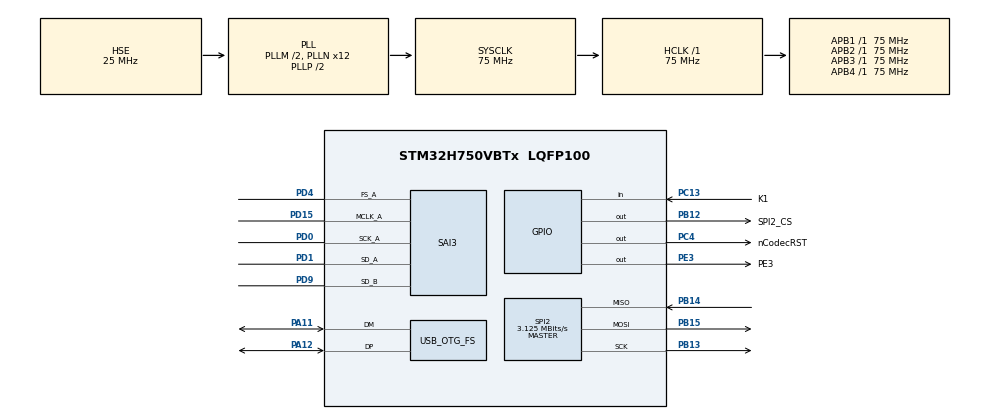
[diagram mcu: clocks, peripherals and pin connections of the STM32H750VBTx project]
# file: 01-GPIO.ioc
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CORTEX_M7.AccessPermission-Cortex_Memory_Protection_Unit_Region0_Settings=MPU_REGION_FULL_ACCESS
CORTEX_M7.AccessPermission-Cortex_Memory_Protection_Unit_Region1_Settings=MPU_REGION_FULL_ACCESS
CORTEX_M7.BaseAddress-Cortex_Memory_Protection_Unit_Region0_Settings=0x90000000
CORTEX_M7.BaseAddress-Cortex_Memory_Protection_Unit_Region1_Settings=0x90000000
CORTEX_M7.CPU_DCache=Disabled
CORTEX_M7.CPU_ICache=Disabled
CORTEX_M7.DisableExec-Cortex_Memory_Protection_Unit_Region0_Settings=MPU_INSTRUCTION_ACCESS_DISABLE
CORTEX_M7.Enable-Cortex_Memory_Protection_Unit_Region0_Settings=MPU_REGION_ENABLE
CORTEX_M7.Enable-Cortex_Memory_Protection_Unit_Region1_Settings=MPU_REGION_ENABLE
CORTEX_M7.IsBufferable-Cortex_Memory_Protection_Unit_Region0_Settings=MPU_ACCESS_BUFFERABLE
CORTEX_M7.IsBufferable-Cortex_Memory_Protection_Unit_Region1_Settings=MPU_ACCESS_BUFFERABLE
CORTEX_M7.IsCacheable-Cortex_Memory_Protection_Unit_Region0_Settings=MPU_ACCESS_CACHEABLE
CORTEX_M7.IsCacheable-Cortex_Memory_Protection_Unit_Region1_Settings=MPU_ACCESS_CACHEABLE
CORTEX_M7.MPU_Control=MPU_PRIVILEGED_DEFAULT
CORTEX_M7.Size-Cortex_Memory_Protection_Unit_Region0_Settings=MPU_REGION_SIZE_8MB
CORTEX_M7.Size-Cortex_Memory_Protection_Unit_Region1_Settings=MPU_REGION_SIZE_1MB
Dma.Request0=SAI3_A
Dma.Request1=SAI3_B
Dma.SAI3_A.0.Direction=DMA_MEMORY_TO_PERIPH
Dma.SAI3_A.0.EventEnable=DISABLE
Dma.SAI3_A.0.FIFOMode=DMA_FIFOMODE_DISABLE
Dma.SAI3_A.0.Instance=DMA1_Stream0
Dma.SAI3_A.0.MemDataAlignment=DMA_MDATAALIGN_HALFWORD
Dma.SAI3_A.0.MemInc=DMA_MINC_ENABLE
Dma.SAI3_A.0.Mode=DMA_CIRCULAR
Dma.SAI3_A.0.PeriphDataAlignment=DMA_PDATAALIGN_HALFWORD
Dma.SAI3_A.0.PeriphInc=DMA_PINC_DISABLE
Dma.SAI3_A.0.Polarity=HAL_DMAMUX_REQ_GEN_RISING
Dma.SAI3_A.0.Priority=DMA_PRIORITY_VERY_HIGH
Dma.SAI3_A.0.RequestNumber=1
Dma.SAI3_A.0.SignalID=NONE
Dma.SAI3_A.0.SyncEnable=DISABLE
Dma.SAI3_A.0.SyncPolarity=HAL_DMAMUX_SYNC_NO_EVENT
Dma.SAI3_A.0.SyncRequestNumber=1
Dma.SAI3_A.0.SyncSignalID=NONE
Dma.SAI3_B.1.Direction=DMA_PERIPH_TO_MEMORY
Dma.SAI3_B.1.EventEnable=DISABLE
Dma.SAI3_B.1.FIFOMode=DMA_FIFOMODE_DISABLE
Dma.SAI3_B.1.Instance=DMA1_Stream1
Dma.SAI3_B.1.MemDataAlignment=DMA_MDATAALIGN_HALFWORD
Dma.SAI3_B.1.MemInc=DMA_MINC_ENABLE
Dma.SAI3_B.1.Mode=DMA_CIRCULAR
Dma.SAI3_B.1.PeriphDataAlignment=DMA_PDATAALIGN_HALFWORD
Dma.SAI3_B.1.PeriphInc=DMA_PINC_DISABLE
Dma.SAI3_B.1.Polarity=HAL_DMAMUX_REQ_GEN_RISING
Dma.SAI3_B.1.Priority=DMA_PRIORITY_VERY_HIGH
Dma.SAI3_B.1.RequestNumber=1
Dma.SAI3_B.1.SignalID=NONE
Dma.SAI3_B.1.SyncEnable=DISABLE
Dma.SAI3_B.1.SyncPolarity=HAL_DMAMUX_SYNC_NO_EVENT
Dma.SAI3_B.1.SyncRequestNumber=1
Dma.SAI3_B.1.SyncSignalID=NONE
Mcu.Family=STM32H7
Mcu.Name=STM32H750VBTx
Mcu.Package=LQFP100
NVIC.DMA1_Stream0_IRQn=true\:1\:0\:true\:false\:true\:false\:true\:true
NVIC.DMA1_Stream1_IRQn=true\:1\:0\:true\:false\:true\:false\:true\:true
NVIC.OTG_FS_IRQn=true\:0\:0\:true\:false\:true\:false\:true\:true
NVIC.PriorityGroup=NVIC_PRIORITYGROUP_4
PA11.Mode=Device_Only
PA11.Signal=USB_OTG_FS_DM
PA12.Mode=Device_Only
PA12.Signal=USB_OTG_FS_DP
PA13\ (JTMS/SWDIO).Mode=Serial_Wire
PA13\ (JTMS/SWDIO).Signal=DEBUG_JTMS-SWDIO
PA14\ (JTCK/SWCLK).Mode=Serial_Wire
PA14\ (JTCK/SWCLK).Signal=DEBUG_JTCK-SWCLK
PB12.GPIO_Label=SPI2_CS
PB12.Signal=GPIO_Output
PB13.Mode=Full_Duplex_Master
PB13.Signal=SPI2_SCK
PB14.Mode=Full_Duplex_Master
PB14.Signal=SPI2_MISO
PB15.Mode=Full_Duplex_Master
PB15.Signal=SPI2_MOSI
PC13.GPIO_Label=K1
PC13.Signal=GPIO_Input
PC14-OSC32_IN\ (OSC32_IN).Mode=LSE-External-Oscillator
PC14-OSC32_IN\ (OSC32_IN).Signal=RCC_OSC32_IN
PC15-OSC32_OUT\ (OSC32_OUT).Mode=LSE-External-Oscillator
PC15-OSC32_OUT\ (OSC32_OUT).Signal=RCC_OSC32_OUT
PC4.GPIO_Label=nCodecRST
PC4.Signal=GPIO_Output
PD0.Mode=SAI_A_MasterWithClock
PD0.Signal=SAI3_SCK_A
PD1.Mode=SAI_A_MasterWithClock
PD1.Signal=SAI3_SD_A
PD15.Mode=SAI_A_MasterWithClock
PD15.Signal=SAI3_MCLK_A
PD4.Mode=SAI_A_MasterWithClock
PD4.Signal=SAI3_FS_A
PD9.Mode=SAI_B_SyncSlave
PD9.Signal=SAI3_SD_B
PE3.GPIO_Label=PE3
PE3.PinState=GPIO_PIN_RESET
PE3.Signal=GPIO_Output
PH0-OSC_IN\ (PH0).Mode=HSE-External-Oscillator
PH0-OSC_IN\ (PH0).Signal=RCC_OSC_IN
PH1-OSC_OUT\ (PH1).Mode=HSE-External-Oscillator
PH1-OSC_OUT\ (PH1).Signal=RCC_OSC_OUT
ProjectManager.HeapSize=0x200
ProjectManager.StackSize=0x400
ProjectManager.TargetToolchain=STM32CubeIDE
RCC.ADCFreq_Value=12288024.90234375
RCC.APB1Freq_Value=75000000
RCC.APB2Freq_Value=75000000
RCC.APB3Freq_Value=75000000
RCC.APB4Freq_Value=75000000
RCC.CortexFreq_Value=75000000
RCC.DIVM1=2
RCC.DIVM2=2
RCC.DIVN1=12
RCC.DIVN2=24
RCC.DIVP2=25
RCC.DIVQ1=3
RCC.HCLKFreq_Value=75000000
RCC.HSE_VALUE=25000000
RCC.PLL2FRACN=4719
RCC.PLLFRACN=0
RCC.PLLSourceVirtual=RCC_PLLSOURCE_HSE
RCC.SAI23CLockSelection=RCC_SAI23CLKSOURCE_PLL2
RCC.SYSCLKFreq_VALUE=75000000
RCC.SYSCLKSource=RCC_SYSCLKSOURCE_PLLCLK
RCC.USBFreq_Value=50000000
SAI3.AudioFrequency-SAI_A_MasterWithClock=SAI_AUDIO_FREQUENCY_48K
SAI3.ErrorAudioFreq-SAI_A_MasterWithClock=0.0 %
SAI3.InitProtocol-SAI_A_MasterWithClock=Enable
SAI3.InitProtocol-SAI_B_SyncSlave=Enable
SAI3.Instance-SAI_A_MasterWithClock=SAI$Index_Block_A
SAI3.Instance-SAI_B_SyncSlave=SAI$Index_Block_B
SAI3.MClockEnable-SAI_A_MasterWithClock=SAI_MASTERCLOCK_ENABLE
SAI3.NoDivider-SAI_A_MasterWithClock=SAI_MASTERDIVIDER_ENABLE
SAI3.RealAudioFreq-SAI_A_MasterWithClock=48.0 KHz
SAI3.TriState-SAI_B_SyncSlave=SAI_OUTPUT_RELEASED
SAI3.VirtualMode-SAI_A_MasterWithClock=VM_MASTER
SAI3.VirtualMode-SAI_B_SyncSlave=VM_SLAVE
SAI3.VirtualProtocol-SAI_A_BASIC=VM_BASIC_PROTOCOL
SAI3.VirtualProtocol-SAI_B_BASIC=VM_BASIC_PROTOCOL
SPI2.BaudRatePrescaler=SPI_BAUDRATEPRESCALER_16
SPI2.CLKPhase=SPI_PHASE_2EDGE
SPI2.CalculateBaudRate=3.125 MBits/s
SPI2.DataSize=SPI_DATASIZE_8BIT
SPI2.Direction=SPI_DIRECTION_2LINES
SPI2.Mode=SPI_MODE_MASTER
SPI2.VirtualType=VM_MASTER
USB_DEVICE.CLASS_NAME_FS=CDC
USB_DEVICE.VirtualMode-CDC_FS=Cdc
USB_DEVICE.VirtualModeFS=Cdc_FS
USB_OTG_FS.VirtualMode=Device_Only
VP_RNG_VS_RNG.Mode=RNG_Activate
VP_SAI3_VP_$IpInstance_SAIA_SAI_BASIC.Mode=SAI_A_BASIC
VP_SAI3_VP_$IpInstance_SAIB_SAI_BASIC.Mode=SAI_B_BASIC
VP_USB_DEVICE_VS_USB_DEVICE_CDC_FS.Mode=CDC_FS
board=custom

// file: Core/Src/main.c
/* USER CODE BEGIN Header */
/**
  ******************************************************************************
  * @file           : main.c
  * @brief          : Main program body
  ******************************************************************************
  * @attention
  *
  * Copyright (c) 2024 STMicroelectronics.
  * All rights reserved.
  *
  * This software is licensed under terms that can be found in the LICENSE file
  * in the root directory of this software component.
  * If no LICENSE file comes with this software, it is provided AS-IS.
  *
  ******************************************************************************
  */
/* USER CODE END Header */
#include "main.h"
#include "dma.h"
#include "rng.h"
#include "sai.h"
#include "spi.h"
#include "usb_device.h"
#include "gpio.h"
#include "cli.h"

/* USER CODE BEGIN Includes */

#include "usbd_cdc_if.h"
#include "tlv320aic3204.h"
#include "string.h"
#include "filter_fisrtorder.h"
#include "firfilter.h"

/* USER CODE END Includes */

/* USER CODE BEGIN PD */

/*
 * TODO play around to get the correct buffer size
 * 		buffer size is related to the delay
 * 		bigger buffer allows for more processing time
 * 		but it brings larger delays
 * */

/*
 * TODO  CHange the C24 and C32 values from 10n to 10u
 * 		 with the value 10n the -3dB for the HP is around 2 kHz witch is criminal
 * 		 with the value 10u the -3dB for the HP is around 200 Hz
 *
 * */

#define BUFFER_SIZE 128
#define INT16TOFLOAT (1.0f)/(32768.0f)
#define FLOATTOINT16 32768.0f

#define SAMPLE_RATE 48000  // Codec's sample rate (48kHz)
#define SINE_FREQ   1000    // Frequency of the sine wave (e.g., A4 = 440Hz)
#define PI          3.14159265358979323846f

#define SAMPLES_PER_WAVE (SAMPLE_RATE / SINE_FREQ)

/* USER CODE END PD */

void SystemClock_Config(void);
void PeriphCommonClock_Config(void);
static void MPU_Initialize(void);
static void MPU_Config(void);

/* USER CODE BEGIN 0 */
uint8_t cmd_usb_buffer[64];
uint8_t cmd_length;

int16_t adc_data[BUFFER_SIZE];
int16_t dac_data[BUFFER_SIZE];
uint8_t data_ready_f = 0;

/* pInBuff and pOutBuff point to the half of the buffer where the data is ready to be processed or sent  */
static volatile int16_t *pInBuff;
static volatile int16_t *pOutBuff = &dac_data[0];

int16_t sine_wave_buffer[2 * SAMPLES_PER_WAVE];  // Buffer to hold one cycle of the sine wave
int16_t sine_wave_recieve_buffer[2 * SAMPLES_PER_WAVE];

/* FX Processing */

LowPass_FirstOrder_t LowPass_Filt_L;
LowPass_FirstOrder_t LowPass_Filt_R;

FirFilter_t LowPass_FIRFilt_L;
FirFilter_t LowPass_FIRFilt_R;

/* Codec driver  */

void play_sine_wave(void);
void processData(void);
void processSineWave(void);

/* We are generating sine wave in the full scale of int16_t range  */

void generate_sine_wave(void)
{
    for (int i = 0; i < SAMPLES_PER_WAVE; i++)
    {
        // Generate a sine wave scaled to 16-bit signed integer range (-32768 to 32767)
        sine_wave_buffer[i * 2] = (int16_t)(32767 * sinf(2 * PI * i / SAMPLES_PER_WAVE)); // Left channel
        sine_wave_buffer[i * 2 + 1] = sine_wave_buffer[i * 2]; // Right channel (copying the same value for mono)
    }
}

void fill_sine_wave_buffer_with_zero(uint16_t *buff) {
    for (int i = 0; i < 2 * SAMPLES_PER_WAVE; i++) {
        buff[i] = 0;
    }
}

/* USER CODE END 0 */

int main(void)
{

  /* MCU Configuration--------------------------------------------------------*/

  /* Reset of all peripherals, Initializes the Flash interface and the Systick. */
  HAL_Init();

  /* MPU Configuration--------------------------------------------------------*/
  MPU_Config();

  /* Configure the system clock */
  SystemClock_Config();

/* Configure the peripherals common clocks */
  PeriphCommonClock_Config();

  /* Initialize all configured peripherals */
  MX_GPIO_Init();
  MX_DMA_Init();
  MX_USB_DEVICE_Init();
  MX_SPI2_Init();
  MX_SAI3_Init();
  //MX_RNG_Init();
  /* USER CODE BEGIN 2 */
  //uint32_t rng;
  uint8_t loop_itertation = 0;

  HAL_Delay(10);

  /*    HARDWARE RESET   */
  //tlv320aic3204_hardwareReset(nCodecRST_GPIO_Port, nCodecRST_Pin);
  tlv320aic3204_Init();

  HAL_Delay(100);

  /* USER CODE END 2 */

  /* Infinite loop */
  /* USER CODE BEGIN WHILE */

  //SCB_DisableDCache();

  //setbuf(stdout, NULL);

  generate_sine_wave();

  LowPass_FirstOrder_Init(&LowPass_Filt_L, 1000.0f, SAMPLE_RATE);
  LowPass_FirstOrder_Init(&LowPass_Filt_R, 1000.0f, SAMPLE_RATE);

  FirFilter_Init(&LowPass_FIRFilt_L);
  FirFilter_Init(&LowPass_FIRFilt_R);
  //fill_sine_wave_buffer_with_zero((uint16_t *)sine_wave_buffer);

  HAL_GPIO_WritePin(PE3_GPIO_Port, PE3_Pin, GPIO_PIN_SET);

  //processSineWave();

  SCB_CleanDCache_by_Addr((uint32_t*) adc_data, sizeof(adc_data));
  SCB_CleanDCache_by_Addr((uint32_t*) dac_data, sizeof(dac_data));

  while (1)
  {
    /* USER CODE END WHILE */

    /* USER CODE BEGIN 3 */

	  if (loop_itertation == 0)
	  {
		  if (HAL_GPIO_ReadPin(K1_GPIO_Port, K1_Pin) == GPIO_PIN_SET)
		  {

			  play_sine_wave();

			  /*
			  if (HAL_SAI_Receive_DMA(&hsai_BlockB3, (uint8_t *) adc_data, BUFFER_SIZE) != HAL_OK)
			  {
				  Error_Handler();
			  }
			  if (HAL_SAI_Transmit_DMA(&hsai_BlockA3, (uint8_t *) dac_data, BUFFER_SIZE) != HAL_OK)
			  {
				  Error_Handler();
			  }
			  */

			  HAL_GPIO_TogglePin(PE3_GPIO_Port, PE3_Pin);
			  loop_itertation = 1;

		  }
	  }

	  //HAL_Delay(1000);

	  /*
	   * When data is ready to be processed we apply our effects
	   *
	   * */
	  if (data_ready_f)
	  {
		  processData();
	  }

	  // Check if data has been received over USB VCP
	  if (cmd_length > 0) {
		  cli_processCommand(cmd_usb_buffer);  // Process the command
		  cmd_length = 0;  // Reset the buffer after processing
	  }

  }
  /* USER CODE END 3 */
}

void SystemClock_Config(void)
{
  RCC_OscInitTypeDef RCC_OscInitStruct = {0};
  RCC_ClkInitTypeDef RCC_ClkInitStruct = {0};

  /** Supply configuration update enable
  */
  HAL_PWREx_ConfigSupply(PWR_LDO_SUPPLY);

  /** Configure the main internal regulator output voltage
  */
  __HAL_PWR_VOLTAGESCALING_CONFIG(PWR_REGULATOR_VOLTAGE_SCALE3);

  while(!__HAL_PWR_GET_FLAG(PWR_FLAG_VOSRDY)) {}

  /** Initializes the RCC Oscillators according to the specified parameters
  * in the RCC_OscInitTypeDef structure.
  */
  RCC_OscInitStruct.OscillatorType = RCC_OSCILLATORTYPE_HSI48|RCC_OSCILLATORTYPE_HSE;
  RCC_OscInitStruct.HSEState = RCC_HSE_ON;
  RCC_OscInitStruct.HSI48State = RCC_HSI48_ON;
  RCC_OscInitStruct.PLL.PLLState = RCC_PLL_ON;
  RCC_OscInitStruct.PLL.PLLSource = RCC_PLLSOURCE_HSE;
  RCC_OscInitStruct.PLL.PLLM = 2;
  RCC_OscInitStruct.PLL.PLLN = 12;
  RCC_OscInitStruct.PLL.PLLP = 2;
  RCC_OscInitStruct.PLL.PLLQ = 3;
  RCC_OscInitStruct.PLL.PLLR = 2;
  RCC_OscInitStruct.PLL.PLLRGE = RCC_PLL1VCIRANGE_3;
  RCC_OscInitStruct.PLL.PLLVCOSEL = RCC_PLL1VCOMEDIUM;
  RCC_OscInitStruct.PLL.PLLFRACN = 0;
  if (HAL_RCC_OscConfig(&RCC_OscInitStruct) != HAL_OK)
  {
    Error_Handler();
  }

  /** Initializes the CPU, AHB and APB buses clocks
  */
  RCC_ClkInitStruct.ClockType = RCC_CLOCKTYPE_HCLK|RCC_CLOCKTYPE_SYSCLK
                              |RCC_CLOCKTYPE_PCLK1|RCC_CLOCKTYPE_PCLK2
                              |RCC_CLOCKTYPE_D3PCLK1|RCC_CLOCKTYPE_D1PCLK1;
  RCC_ClkInitStruct.SYSCLKSource = RCC_SYSCLKSOURCE_PLLCLK;
  RCC_ClkInitStruct.SYSCLKDivider = RCC_SYSCLK_DIV1;
  RCC_ClkInitStruct.AHBCLKDivider = RCC_HCLK_DIV1;
  RCC_ClkInitStruct.APB3CLKDivider = RCC_APB3_DIV1;
  RCC_ClkInitStruct.APB1CLKDivider = RCC_APB1_DIV1;
  RCC_ClkInitStruct.APB2CLKDivider = RCC_APB2_DIV1;
  RCC_ClkInitStruct.APB4CLKDivider = RCC_APB4_DIV1;

  if (HAL_RCC_ClockConfig(&RCC_ClkInitStruct, FLASH_LATENCY_1) != HAL_OK)
  {
    Error_Handler();
  }
}

void PeriphCommonClock_Config(void)
{
  RCC_PeriphCLKInitTypeDef PeriphClkInitStruct = {0};

  /** Initializes the peripherals clock
  */
  PeriphClkInitStruct.PeriphClockSelection = RCC_PERIPHCLK_SAI3;
  PeriphClkInitStruct.PLL2.PLL2M = 2;
  PeriphClkInitStruct.PLL2.PLL2N = 24;
  PeriphClkInitStruct.PLL2.PLL2P = 25;
  PeriphClkInitStruct.PLL2.PLL2Q = 2;
  PeriphClkInitStruct.PLL2.PLL2R = 2;
  PeriphClkInitStruct.PLL2.PLL2RGE = RCC_PLL2VCIRANGE_3;
  PeriphClkInitStruct.PLL2.PLL2VCOSEL = RCC_PLL2VCOWIDE;
  PeriphClkInitStruct.PLL2.PLL2FRACN = 4719;
  PeriphClkInitStruct.Sai23ClockSelection = RCC_SAI23CLKSOURCE_PLL2;
  if (HAL_RCCEx_PeriphCLKConfig(&PeriphClkInitStruct) != HAL_OK)
  {
    Error_Handler();
  }
}

/* USER CODE BEGIN 4 */

/*
 *  The DMA has sent over the first part of the buffer so we can
 *  process the first part of the buffer and then send it
 * */

void HAL_SAI_TxHalfCpltCallback(SAI_HandleTypeDef *hsai)
{
	SCB_CleanDCache_by_Addr((uint32_t*) (dac_data + (BUFFER_SIZE / 2)) , sizeof(int16_t) * (BUFFER_SIZE / 2));
	pOutBuff = &dac_data[0];    // pOutBuff points to the first part of the buffer where we just processed data

}

void HAL_SAI_RxHalfCpltCallback(SAI_HandleTypeDef *hsai)
{
	SCB_InvalidateDCache_by_Addr((uint32_t*) (adc_data), sizeof(int16_t) * (BUFFER_SIZE / 2));
	pInBuff = &adc_data[0];      // pInBuff points to the first part of the buffer where we just received data
	data_ready_f = 1;
}

/*
 *  The DMA has sent over the last part of the buffer so we can
 *  process the last part of the buffer and then send it
 * */

void HAL_SAI_TxCpltCallback(SAI_HandleTypeDef *hsai)
{
	SCB_CleanDCache_by_Addr((uint32_t*) (dac_data) , sizeof(int16_t) * (BUFFER_SIZE / 2));
	pOutBuff = &dac_data[BUFFER_SIZE/2];    // pOutBuff points to the second part of the buffer where we just processed data
}

void HAL_SAI_RxCpltCallback(SAI_HandleTypeDef *hsai)
{
	SCB_InvalidateDCache_by_Addr((uint32_t*) (adc_data + (BUFFER_SIZE / 2)), sizeof(int16_t) * (BUFFER_SIZE / 2));
	pInBuff = &adc_data[BUFFER_SIZE/2];    // pInBuff points to the first part of the buffer where we just received data
	data_ready_f = 1;
}

// Function to start sending the sine wave over I2S
void play_sine_wave(void)
{
    // The sine_wave_buffer contains one cycle of the sine wave. To play the sine wave continuously,
    // you can use HAL_SAI_Transmit_DMA to send the buffer over I2S in a loop.
	SCB_CleanDCache_by_Addr((uint32_t*)sine_wave_buffer, sizeof(sine_wave_buffer));
    if (HAL_SAI_Transmit_DMA(&hsai_BlockA3, (uint8_t *)sine_wave_buffer, 2 * SAMPLES_PER_WAVE) != HAL_OK)
    {
        // Transmission Error
        Error_Handler();
    }
}

void processData(void)
{

	static float inLeft, inRight;
	static float outLeft, outRight;

	for (uint8_t n = 0; n < (BUFFER_SIZE/2) - 1; n += 2)
	{

		// Left Channel

		inLeft = pInBuff[n];

		inLeft = INT16TOFLOAT * pInBuff[n];

		if (inLeft > 1.0f)
		{
			inLeft -= 2.0f;
		}

		// Data processing outLeft = f(inLeft)

		outLeft = LowPass_FirstOrder_Update(&LowPass_Filt_L, inLeft);
		//outLeft = FirFilter_Update(&LowPass_FIRFilt_L, inLeft);
//		outLeft = inLeft;

		pOutBuff[n] = (int16_t)(FLOATTOINT16 * outLeft);

		// Right Channel

		inRight = pInBuff[n + 1];

		inRight = INT16TOFLOAT * pInBuff[n + 1];

				if (inRight > 1.0f)
				{
					inRight -= 2.0f;
				}

		// Data processing outRight = f(inRight)

		outRight = LowPass_FirstOrder_Update(&LowPass_Filt_R, inRight);
		//outRight = FirFilter_Update(&LowPass_FIRFilt_R, inRight);
		pOutBuff[n + 1] = (int16_t)(FLOATTOINT16 * outRight);

		/*   I am only using the left channel because the guitar is mono
		 * 	 we are the doing the mono to stereo conversion
		 *
		 */
//		outLeft = inLeft;
//		pOutBuff[n] = (int16_t)(FLOATTOINT16 * outLeft);
//
//		outRight = inRight;
//		pOutBuff[n + 1] = (int16_t)(FLOATTOINT16 * outRight);

	}

	data_ready_f = 0;

}

void processSineWave(void)
{
    static float inLeft, inRight;
    static float outLeft, outRight;

    for (uint8_t n = 0; n < SAMPLES_PER_WAVE - 1; n += 2)
    {
        // Left Channel
        inLeft = INT16TOFLOAT * sine_wave_buffer[n];

        if (inLeft > 1.0f)
        {
            inLeft -= 2.0f;
        }

        // Data processing outLeft = f(inLeft)
        outLeft = LowPass_FirstOrder_Update(&LowPass_Filt_L, inLeft);
        // Uncomment below if using FIR filter
        // outLeft = FirFilter_Update(&LowPass_FIRFilt_L, inLeft);
        sine_wave_buffer[n] = (int16_t)(FLOATTOINT16 * outLeft);

        // Right Channel
        inRight = INT16TOFLOAT * sine_wave_buffer[n + 1];

        if (inRight > 1.0f)
        {
            inRight -= 2.0f;
        }

        // Data processing outRight = f(inRight)
        outRight = LowPass_FirstOrder_Update(&LowPass_Filt_R, inRight);
        // Uncomment below if using FIR filter
        // outRight = FirFilter_Update(&LowPass_FIRFilt_R, inRight);
        sine_wave_buffer[n + 1] = (int16_t)(FLOATTOINT16 * outRight);
    }

}

/* USER CODE END 4 */

/* MPU Configuration */

void MPU_Config(void)
{
  MPU_Region_InitTypeDef MPU_InitStruct = {0};

  /* Disables the MPU */
  HAL_MPU_Disable();

  /** Initializes and configures the Region and the memory to be protected
  */
  MPU_InitStruct.Enable = MPU_REGION_ENABLE;
  MPU_InitStruct.Number = MPU_REGION_NUMBER0;
  MPU_InitStruct.BaseAddress = 0x90000000;
  MPU_InitStruct.Size = MPU_REGION_SIZE_8MB;
  MPU_InitStruct.SubRegionDisable = 0x0;
  MPU_InitStruct.TypeExtField = MPU_TEX_LEVEL0;
  MPU_InitStruct.AccessPermission = MPU_REGION_FULL_ACCESS;
  MPU_InitStruct.DisableExec = MPU_INSTRUCTION_ACCESS_DISABLE;
  MPU_InitStruct.IsShareable = MPU_ACCESS_NOT_SHAREABLE;
  MPU_InitStruct.IsCacheable = MPU_ACCESS_CACHEABLE;
  MPU_InitStruct.IsBufferable = MPU_ACCESS_BUFFERABLE;

  HAL_MPU_ConfigRegion(&MPU_InitStruct);

  /** Initializes and configures the Region and the memory to be protected
  */
  MPU_InitStruct.Number = MPU_REGION_NUMBER1;
  MPU_InitStruct.Size = MPU_REGION_SIZE_1MB;
  MPU_InitStruct.DisableExec = MPU_INSTRUCTION_ACCESS_ENABLE;

  HAL_MPU_ConfigRegion(&MPU_InitStruct);
  /* Enables the MPU */
  HAL_MPU_Enable(MPU_PRIVILEGED_DEFAULT);

}

void Error_Handler(void)
{
  /* USER CODE BEGIN Error_Handler_Debug */
  /* User can add his own implementation to report the HAL error return state */
  __disable_irq();
  while (1)
  {

	  HAL_GPIO_TogglePin(PE3_GPIO_Port, PE3_Pin);
	  HAL_Delay(500);
  }
  /* USER CODE END Error_Handler_Debug */
}
